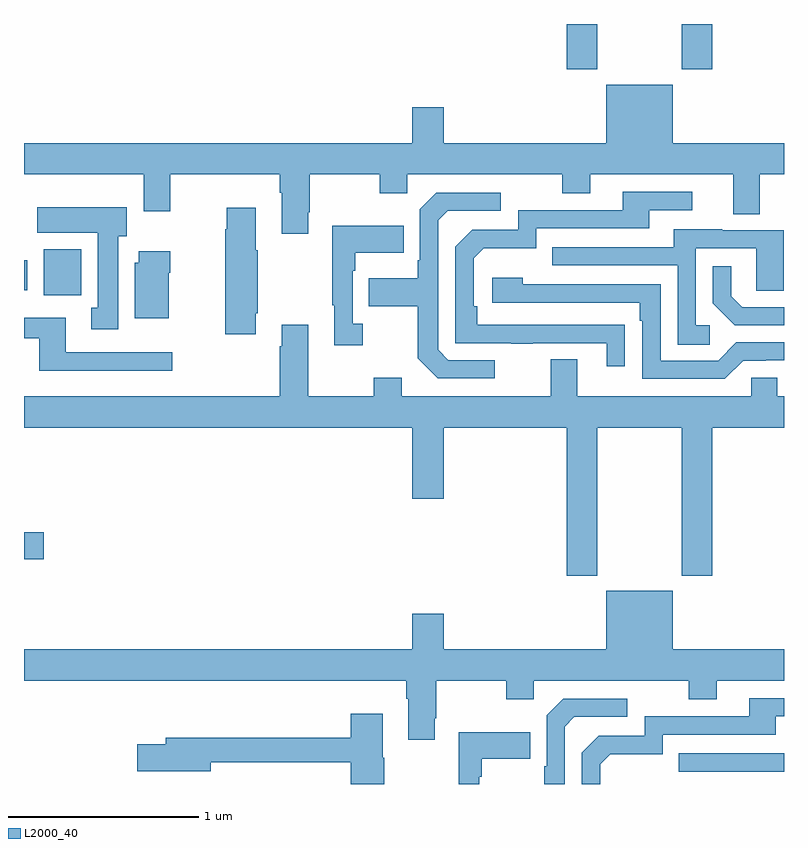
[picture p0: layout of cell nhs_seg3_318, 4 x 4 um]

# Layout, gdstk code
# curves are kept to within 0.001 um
import gdstk
lib = gdstk.Library(unit=1e-6, precision=1e-09)
def R(c, l, rs):  # rectangles x0, y0, x1, y1
    for r in rs: c.add(gdstk.rectangle(r[:2], r[2:], *l))
def P(c, l, *ps):  # polygons
    for p in ps: c.add(gdstk.Polygon(p, *l))
L2000_40 = (2000, 40)

nhs_seg3_318 = lib.new_cell('nhs_seg3_318')
R(nhs_seg3_318, L2000_40, [(130.447,672.465,131,672.561), (127,673.582,127.105,673.724), (127.103,674.972,127.3,675.214), (127,675,127.018,675.156), (129.857,676.161,130.017,676.4), (130.462,676.161,130.622,676.4)])
P(nhs_seg3_318, L2000_40, [(128.497,675.409),(128.505,675.409),(128.505,675.608),(128.872,675.608),(128.872,675.509),(129.018,675.509),(129.018,675.608),(129.832,675.608),(129.832,675.509),(129.979,675.509),(129.979,675.608),(130.733,675.608),(130.733,675.4),(130.873,675.4),(130.873,675.608),(131,675.608),(131,675.772),(130.414,675.772),(130.414,676.081),(130.064,676.081),(130.064,675.772),(129.208,675.772),(129.208,675.961),(129.044,675.961),(129.044,675.772),(127,675.772),(127,675.608),(127.631,675.608),(127.631,675.414),(127.771,675.414),(127.771,675.608),(128.345,675.608),(128.345,675.512),(128.357,675.512),(128.357,675.297),(128.497,675.297)],
  [(130.163,674.816),(129.386,674.817),(129.386,674.914),(129.366,674.914),(129.366,675.168),(129.419,675.221),(129.696,675.221),(129.696,675.324),(130.291,675.324),(130.291,675.42),(130.516,675.42),(130.516,675.516),(130.151,675.516),(130.151,675.42),(129.6,675.42),(129.6,675.318),(129.36,675.318),(129.27,675.228),(129.27,674.721),(129.565,674.721),(129.565,674.716),(129.677,674.716),(129.677,674.721),(130.067,674.721),(130.067,674.598),(130.163,674.598)],
  [(129.477,674.631),(129.234,674.631),(129.18,674.685),(129.18,675.366),(129.231,675.417),(129.508,675.417),(129.508,675.513),(129.171,675.513),(129.084,675.426),(129.084,675.157),(129.072,675.157),(129.072,675.061),(128.815,675.061),(128.815,674.914),(129.072,674.914),(129.072,674.641),(129.177,674.535),(129.477,674.535)],
  [(127.495,675.282),(127.54,675.282),(127.54,675.436),(127.071,675.436),(127.071,675.302),(127.388,675.302),(127.388,674.906),(127.355,674.906),(127.355,674.793),(127.495,674.793)],
  [(128.221,674.878),(128.229,674.878),(128.229,675.209),(128.221,675.209),(128.221,675.433),(128.066,675.433),(128.066,675.32),(128.059,675.32),(128.059,674.766),(128.221,674.766)],
  [(128.782,674.822),(128.73,674.822),(128.73,675.101),(128.743,675.101),(128.743,675.197),(128.999,675.197),(128.999,675.337),(128.622,675.337),(128.622,674.921),(128.633,674.921),(128.633,674.709),(128.782,674.709)],
  [(130.608,674.814),(130.536,674.814),(130.536,675.219),(130.854,675.219),(130.854,674.995),(130.999,674.995),(130.999,675.315),(130.675,675.315),(130.675,675.319),(130.421,675.319),(130.421,675.225),(129.781,675.225),(129.781,675.129),(130.44,675.129),(130.44,674.713),(130.608,674.713)],
  [(127.762,675.092),(127.77,675.092),(127.77,675.205),(127.604,675.205),(127.604,675.144),(127.583,675.144),(127.583,674.852),(127.762,674.852)],
  [(131,674.91),(130.78,674.91),(130.723,674.967),(130.723,675.124),(130.626,675.124),(130.626,674.93),(130.742,674.814),(131,674.814)],
  [(130.785,674.628),(130.904,674.628),(130.904,674.631),(131,674.631),(131,674.724),(130.749,674.724),(130.653,674.628),(130.35,674.628),(130.35,675.03),(129.626,675.03),(129.626,675.064),(129.465,675.064),(129.465,674.934),(130.241,674.934),(130.241,674.837),(130.254,674.837),(130.254,674.532),(130.689,674.532)],
  [(127.78,674.673),(127.219,674.673),(127.219,674.854),(127,674.854),(127,674.745),(127.079,674.745),(127.079,674.576),(127.78,674.576)],
  [(128.357,674.818),(128.357,674.705),(128.345,674.705),(128.345,674.44),(127,674.44),(127,674.276),(129.044,674.276),(129.044,673.902),(129.208,673.902),(129.208,674.276),(129.857,674.276),(129.857,673.497),(130.017,673.497),(130.017,674.276),(130.462,674.276),(130.462,673.497),(130.622,673.497),(130.622,674.276),(131,674.276),(131,674.44),(130.965,674.44),(130.965,674.538),(130.827,674.538),(130.827,674.44),(129.913,674.44),(129.913,674.635),(129.773,674.635),(129.773,674.44),(128.989,674.44),(128.989,674.539),(128.842,674.539),(128.842,674.44),(128.497,674.44),(128.497,674.818)],
  [(129.163,672.745),(129.171,672.745),(129.171,672.944),(129.538,672.944),(129.538,672.845),(129.684,672.845),(129.684,672.944),(130.498,672.944),(130.498,672.845),(130.645,672.845),(130.645,672.944),(131,672.944),(131,673.108),(130.414,673.108),(130.414,673.417),(130.064,673.417),(130.064,673.108),(129.208,673.108),(129.208,673.297),(129.044,673.297),(129.044,673.108),(127,673.108),(127,672.944),(129.011,672.944),(129.011,672.848),(129.023,672.848),(129.023,672.633),(129.163,672.633)],
  [(130.032,672.504),(130.085,672.557),(130.362,672.557),(130.362,672.66),(130.957,672.66),(130.957,672.756),(131,672.756),(131,672.852),(130.817,672.852),(130.817,672.756),(130.266,672.756),(130.266,672.654),(130.026,672.654),(129.936,672.564),(129.936,672.4),(130.032,672.4)],
  [(129.846,672.702),(129.897,672.753),(130.174,672.753),(130.174,672.849),(129.837,672.849),(129.75,672.762),(129.75,672.493),(129.738,672.493),(129.738,672.4),(129.846,672.4)],
  [(128.895,672.537),(128.887,672.537),(128.887,672.769),(128.72,672.769),(128.72,672.643),(127.745,672.643),(127.745,672.609),(127.596,672.609),(127.596,672.467),(127.984,672.467),(127.984,672.514),(128.72,672.514),(128.72,672.4),(128.895,672.4)],
  [(129.396,672.437),(129.409,672.437),(129.409,672.533),(129.665,672.533),(129.665,672.673),(129.288,672.673),(129.288,672.4),(129.396,672.4)])

lib.write_gds('nhs_seg3_318.gds')
